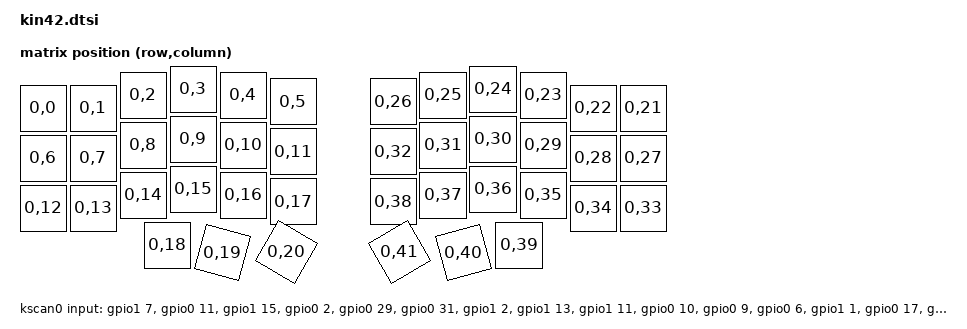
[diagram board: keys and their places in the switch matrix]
/*
 * Copyright (c) 2020 The ZMK Contributors
 *
 * SPDX-License-Identifier: MIT
 */

#include <dt-bindings/zmk/matrix_transform.h>
#include <physical_layouts.dtsi>

/ {
    chosen {
        zmk,kscan = &kscan0;
    };

    default_transform: keymap_transform_0 {
        compatible = "zmk,matrix-transform";
        columns = <42>;
        rows = <1>;
        map =  <
        RC(0,0)  RC(0,1)  RC(0,2)  RC(0,3)  RC(0,4)  RC(0,5)    RC(0,26) RC(0,25) RC(0,24) RC(0,23) RC(0,22) RC(0,21)
        RC(0,6)  RC(0,7)  RC(0,8)  RC(0,9)  RC(0,10) RC(0,11)   RC(0,32) RC(0,31) RC(0,30) RC(0,29) RC(0,28) RC(0,27)
        RC(0,12) RC(0,13) RC(0,14) RC(0,15) RC(0,16) RC(0,17)   RC(0,38) RC(0,37) RC(0,36) RC(0,35) RC(0,34) RC(0,33)
                                   RC(0,18) RC(0,19) RC(0,20)   RC(0,41) RC(0,40) RC(0,39)
        >;           
    };

    kscan0: kscan {
        compatible = "zmk,kscan-gpio-direct";
        wakeup-source;

        input-gpios
        = <&gpio1  7 (GPIO_ACTIVE_LOW | GPIO_PULL_UP)>
        , <&gpio0 11 (GPIO_ACTIVE_LOW | GPIO_PULL_UP)>
        , <&gpio1 15 (GPIO_ACTIVE_LOW | GPIO_PULL_UP)>
        , <&gpio0  2 (GPIO_ACTIVE_LOW | GPIO_PULL_UP)>
        , <&gpio0 29 (GPIO_ACTIVE_LOW | GPIO_PULL_UP)>
        , <&gpio0 31 (GPIO_ACTIVE_LOW | GPIO_PULL_UP)>
        , <&gpio1  2 (GPIO_ACTIVE_LOW | GPIO_PULL_UP)>
        , <&gpio1 13 (GPIO_ACTIVE_LOW | GPIO_PULL_UP)>
        , <&gpio1 11 (GPIO_ACTIVE_LOW | GPIO_PULL_UP)>
        , <&gpio0 10 (GPIO_ACTIVE_LOW | GPIO_PULL_UP)>
        , <&gpio0  9 (GPIO_ACTIVE_LOW | GPIO_PULL_UP)>
        , <&gpio0  6 (GPIO_ACTIVE_LOW | GPIO_PULL_UP)>
        , <&gpio1  1 (GPIO_ACTIVE_LOW | GPIO_PULL_UP)>
        , <&gpio0 17 (GPIO_ACTIVE_LOW | GPIO_PULL_UP)>
        , <&gpio0 20 (GPIO_ACTIVE_LOW | GPIO_PULL_UP)>
        , <&gpio0 22 (GPIO_ACTIVE_LOW | GPIO_PULL_UP)>
        , <&gpio0 24 (GPIO_ACTIVE_LOW | GPIO_PULL_UP)>
        , <&gpio1  0 (GPIO_ACTIVE_LOW | GPIO_PULL_UP)>
        , <&gpio0  8 (GPIO_ACTIVE_LOW | GPIO_PULL_UP)>
        , <&gpio1  4 (GPIO_ACTIVE_LOW | GPIO_PULL_UP)>
        , <&gpio1  6 (GPIO_ACTIVE_LOW | GPIO_PULL_UP)>
        ;
    };

    kin42_layout: kin42_layout {
        compatible = "zmk,physical-layout";
        display-name = "Default";
        transform = <&default_transform>;

        keys  //                     w   h    x    y     rot    rx    ry
            = <&key_physical_attrs 100 100    0   38       0     0     0>
            , <&key_physical_attrs 100 100  100   38       0     0     0>
            , <&key_physical_attrs 100 100  200   12       0     0     0>
            , <&key_physical_attrs 100 100  300    0       0     0     0>
            , <&key_physical_attrs 100 100  400   12       0     0     0>
            , <&key_physical_attrs 100 100  500   25       0     0     0>
            , <&key_physical_attrs 100 100  700   25       0     0     0>
            , <&key_physical_attrs 100 100  800   12       0     0     0>
            , <&key_physical_attrs 100 100  900    0       0     0     0>
            , <&key_physical_attrs 100 100 1000   12       0     0     0>
            , <&key_physical_attrs 100 100 1100   38       0     0     0>
            , <&key_physical_attrs 100 100 1200   38       0     0     0>
            , <&key_physical_attrs 100 100    0  138       0     0     0>
            , <&key_physical_attrs 100 100  100  138       0     0     0>
            , <&key_physical_attrs 100 100  200  112       0     0     0>
            , <&key_physical_attrs 100 100  300  100       0     0     0>
            , <&key_physical_attrs 100 100  400  112       0     0     0>
            , <&key_physical_attrs 100 100  500  125       0     0     0>
            , <&key_physical_attrs 100 100  700  125       0     0     0>
            , <&key_physical_attrs 100 100  800  112       0     0     0>
            , <&key_physical_attrs 100 100  900  100       0     0     0>
            , <&key_physical_attrs 100 100 1000  112       0     0     0>
            , <&key_physical_attrs 100 100 1100  138       0     0     0>
            , <&key_physical_attrs 100 100 1200  138       0     0     0>
            , <&key_physical_attrs 100 100    0  238       0     0     0>
            , <&key_physical_attrs 100 100  100  238       0     0     0>
            , <&key_physical_attrs 100 100  200  212       0     0     0>
            , <&key_physical_attrs 100 100  300  200       0     0     0>
            , <&key_physical_attrs 100 100  400  212       0     0     0>
            , <&key_physical_attrs 100 100  500  225       0     0     0>
            , <&key_physical_attrs 100 100  700  225       0     0     0>
            , <&key_physical_attrs 100 100  800  212       0     0     0>
            , <&key_physical_attrs 100 100  900  200       0     0     0>
            , <&key_physical_attrs 100 100 1000  212       0     0     0>
            , <&key_physical_attrs 100 100 1100  238       0     0     0>
            , <&key_physical_attrs 100 100 1200  238       0     0     0>
            , <&key_physical_attrs 100 100  248  312       0     0     0>
            , <&key_physical_attrs 100 100  248  312    1500   298   790>
            , <&key_physical_attrs 100 100  248  262    3000   298   790>
            , <&key_physical_attrs 100 100  952  262 (-3000)  1002   790>
            , <&key_physical_attrs 100 100  952  312 (-1500)  1002   790>
            , <&key_physical_attrs 100 100  952  312       0     0     0>
            ;
    };

};
